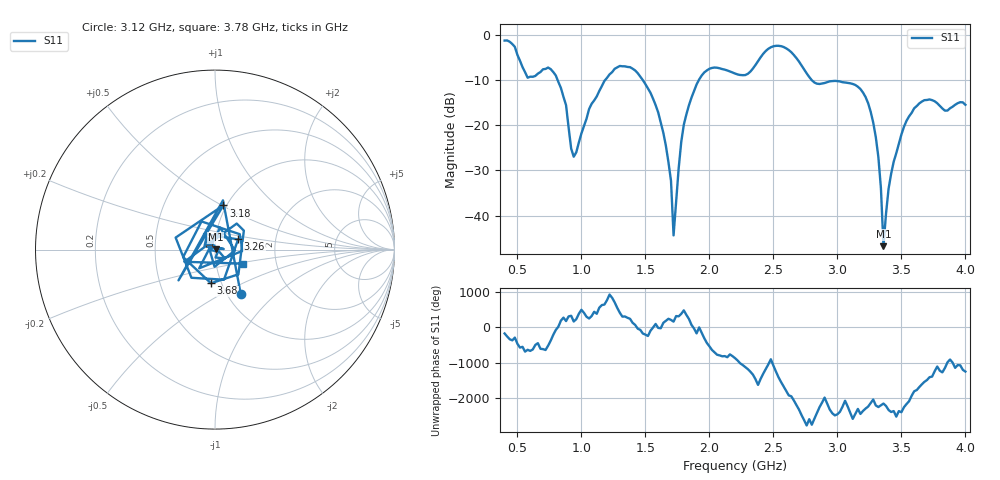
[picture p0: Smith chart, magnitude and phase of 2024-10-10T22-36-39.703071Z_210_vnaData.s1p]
! Created with skrf (http://scikit-rf.org).
# Hz S RI R 50.0
!freq ReS11 ImS11
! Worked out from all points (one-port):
!   181 points, 400 MHz to 4 GHz, reference 50 ohm
!   lowest |S11| = -46.8 dB at 3.36 GHz (marker M1), VSWR 1.01, Z = 50.5 + j0.0896 ohm
!   |S11| at or under -10 dB: 813.7 MHz to 1.186 GHz (372.7 MHz wide, 37.3 % of centre); 1.479 GHz to 1.918 GHz (439.2 MHz wide, 25.9 % of centre); 2.798 GHz to end of sweep
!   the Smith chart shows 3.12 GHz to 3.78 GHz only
!   S11 on the Smith chart (normalised r, x): 3.12 GHz: 1.16, -0.62; 3.18 GHz: 0.97, +0.51; 3.26 GHz: 1.29, +0.15; 3.68 GHz: 0.89, -0.35; 3.78 GHz: 1.35, -0.22
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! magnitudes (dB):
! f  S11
! 400 MHz  -1.3
! 580 MHz  -9.5
! 760 MHz  -7.6
! 860 MHz  -13.8
! 940 MHz  -27.0
! 1.08 GHz  -15.3
! 1.3 GHz  -6.9
! 1.6 GHz  -17.2
! 1.7 GHz  -32.3
! 1.72 GHz  -44.4
! 1.76 GHz  -29.5
! 1.8 GHz  -19.9
! 1.92 GHz  -9.9
! 2.2 GHz  -8.6
! 2.5 GHz  -2.6
! 2.66 GHz  -4.5
! 2.82 GHz  -10.6
! 3.1 GHz  -10.7
! 3.12 GHz  -10.9
! 3.18 GHz  -12.0
! 3.26 GHz  -17.0
! 3.32 GHz  -27.0
! 3.36 GHz  -46.8
! 3.42 GHz  -30.7
! 3.56 GHz  -18.1
! 3.68 GHz  -14.5
! 3.78 GHz  -15.2
! 4 GHz  -15.5
